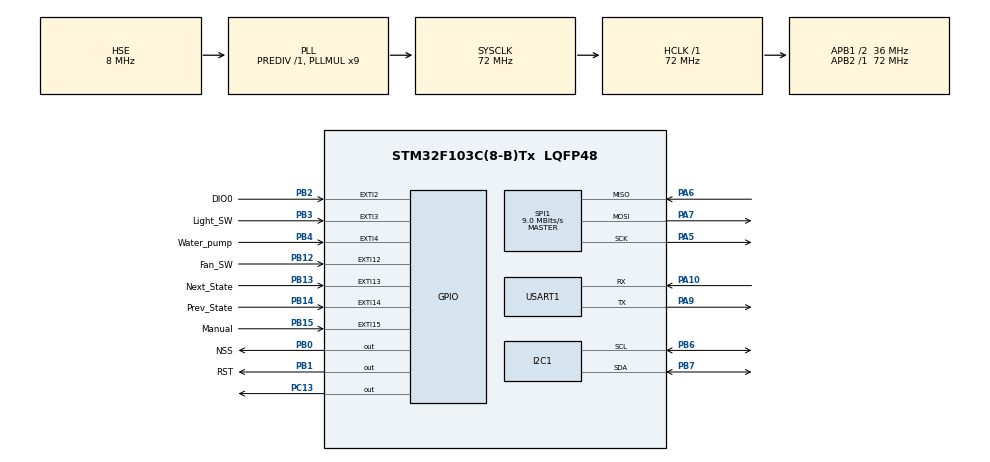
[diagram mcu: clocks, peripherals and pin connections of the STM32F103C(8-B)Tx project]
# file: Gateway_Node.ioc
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I2C1.I2C_Mode=I2C_Fast
Mcu.Family=STM32F1
Mcu.Name=STM32F103C(8-B)Tx
Mcu.Package=LQFP48
NVIC.EXTI15_10_IRQn=true\:0\:0\:false\:false\:true\:true\:true\:true
NVIC.EXTI2_IRQn=true\:0\:0\:false\:false\:true\:true\:true\:true
NVIC.EXTI3_IRQn=true\:0\:0\:false\:false\:true\:true\:true\:true
NVIC.EXTI4_IRQn=true\:0\:0\:false\:false\:true\:true\:true\:true
NVIC.PriorityGroup=NVIC_PRIORITYGROUP_4
NVIC.USART1_IRQn=true\:0\:0\:false\:false\:true\:true\:true\:true
PA10.Mode=Asynchronous
PA10.Signal=USART1_RX
PA13.Mode=Serial_Wire
PA13.Signal=SYS_JTMS-SWDIO
PA14.Mode=Serial_Wire
PA14.Signal=SYS_JTCK-SWCLK
PA5.Mode=Full_Duplex_Master
PA5.Signal=SPI1_SCK
PA6.Mode=Full_Duplex_Master
PA6.Signal=SPI1_MISO
PA7.Mode=Full_Duplex_Master
PA7.Signal=SPI1_MOSI
PA9.Mode=Asynchronous
PA9.Signal=USART1_TX
PB0.GPIO_Label=NSS
PB0.PinState=GPIO_PIN_SET
PB0.Signal=GPIO_Output
PB1.GPIO_Label=RST
PB1.PinState=GPIO_PIN_SET
PB1.Signal=GPIO_Output
PB12.GPIO_Label=Fan_SW
PB12.GPIO_ModeDefaultEXTI=GPIO_MODE_IT_FALLING
PB12.Signal=GPXTI12
PB13.GPIO_Label=Next_State
PB13.GPIO_ModeDefaultEXTI=GPIO_MODE_IT_FALLING
PB13.Signal=GPXTI13
PB14.GPIO_Label=Prev_State
PB14.GPIO_ModeDefaultEXTI=GPIO_MODE_IT_FALLING
PB14.Signal=GPXTI14
PB15.GPIO_Label=Manual
PB15.GPIO_ModeDefaultEXTI=GPIO_MODE_IT_FALLING
PB15.Signal=GPXTI15
PB2.GPIO_Label=DIO0
PB2.Signal=GPXTI2
PB3.GPIO_Label=Light_SW
PB3.GPIO_ModeDefaultEXTI=GPIO_MODE_IT_FALLING
PB3.Signal=GPXTI3
PB4.GPIO_Label=Water_pump
PB4.GPIO_ModeDefaultEXTI=GPIO_MODE_IT_FALLING
PB4.Signal=GPXTI4
PB6.Mode=I2C
PB6.Signal=I2C1_SCL
PB7.Mode=I2C
PB7.Signal=I2C1_SDA
PC13-TAMPER-RTC.Signal=GPIO_Output
PD0-OSC_IN.Mode=HSE-External-Oscillator
PD0-OSC_IN.Signal=RCC_OSC_IN
PD1-OSC_OUT.Mode=HSE-External-Oscillator
PD1-OSC_OUT.Signal=RCC_OSC_OUT
ProjectManager.HeapSize=0x200
ProjectManager.StackSize=0x400
ProjectManager.TargetToolchain=STM32CubeIDE
RCC.AHBFreq_Value=72000000
RCC.APB1CLKDivider=RCC_HCLK_DIV2
RCC.APB1Freq_Value=36000000
RCC.APB1TimFreq_Value=72000000
RCC.APB2Freq_Value=72000000
RCC.APB2TimFreq_Value=72000000
RCC.HCLKFreq_Value=72000000
RCC.PLLMUL=RCC_PLL_MUL9
RCC.PLLSourceVirtual=RCC_PLLSOURCE_HSE
RCC.SYSCLKFreq_VALUE=72000000
RCC.SYSCLKSource=RCC_SYSCLKSOURCE_PLLCLK
RCC.USBFreq_Value=72000000
SPI1.BaudRatePrescaler=SPI_BAUDRATEPRESCALER_8
SPI1.CalculateBaudRate=9.0 MBits/s
SPI1.Direction=SPI_DIRECTION_2LINES
SPI1.Mode=SPI_MODE_MASTER
SPI1.VirtualType=VM_MASTER
USART1.VirtualMode=VM_ASYNC
board=custom

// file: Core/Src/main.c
/* USER CODE BEGIN Header */
/**
  ******************************************************************************
  * @file           : main.c
  * @brief          : Main program body
  ******************************************************************************
  * @attention
  *
  * Copyright (c) 2025 STMicroelectronics.
  * All rights reserved.
  *
  * This software is licensed under terms that can be found in the LICENSE file
  * in the root directory of this software component.
  * If no LICENSE file comes with this software, it is provided AS-IS.
  *
  ******************************************************************************
  */
/* USER CODE END Header */
#include "main.h"

/* USER CODE BEGIN Includes */
#include "lcd-i2c.h"
#include "Lora.h"
#include <stdio.h>
#include "config.h"
/* USER CODE END Includes */

/* USER CODE BEGIN PD */
LoRa myLoRa;
uint16_t LoRa_Status;
uint8_t TxBuffer[4];
uint8_t Received_Data[9];
uint8_t RX_Data_Control[16];
uint8_t receivedACK[3];
volatile uint8_t Start = 1;
volatile uint8_t Data_Sensor_Interrupt = 0;
uint8_t ESP_rx_data;
volatile uint8_t manual_interrupt_flag = 0;
volatile uint8_t automate_interrupt_flag = 0;

//RELAYS STATE VARIABLES
volatile uint8_t water_relay = 0; // 0: OFF, 1: ON
volatile uint8_t light_relay = 0; // 0: OFF, 1: ON
volatile uint8_t fan_relay = 0; // 0: OFF, 1: ON
volatile uint8_t relay_state = 0;

volatile uint8_t Next_State_Flag = 0;
volatile uint8_t Prev_State_Flag = 0;

typedef struct {
    uint8_t Check_ID;
    uint16_t Humidity;
    uint16_t Temperature;
    uint16_t LUX;
    uint16_t Data_MQ135;
    uint16_t soil_Temp;
    uint16_t soil_Moisture;
} SensorData_t;
SensorData_t sensorData;

typedef enum {
    MODE_MANUAL,
    MODE_AUTOMATE
} ControlMode_t;
ControlMode_t control_mode = MODE_MANUAL;

typedef enum {
    SCREEN_SENSOR = 0,
    SCREEN_RELAY,
    SCREEN_MODE,
    SCREEN_TOTAL
} DisplayScreen_t;
DisplayScreen_t current_display_screen = SCREEN_SENSOR;

uint8_t buffer[14];
/* USER CODE END PD */

I2C_HandleTypeDef hi2c1;

SPI_HandleTypeDef hspi1;

UART_HandleTypeDef huart1;

void SystemClock_Config(void);
static void MX_GPIO_Init(void);
static void MX_I2C1_Init(void);
static void MX_SPI1_Init(void);
static void MX_USART1_UART_Init(void);
/* USER CODE BEGIN PFP */
void LCD_Display(SensorData_t *sensorData);
void Received_Data_Handler(void);
void Sendto_ESP_UART(SensorData_t *data);
void change_relay_state(void);
void change_relay_state_update_manual(void);

/* USER CODE END PFP */

int main(void)
{

  /* MCU Configuration--------------------------------------------------------*/

  /* Reset of all peripherals, Initializes the Flash interface and the Systick. */
  HAL_Init();

  /* Configure the system clock */
  SystemClock_Config();

  /* Initialize all configured peripherals */
  MX_GPIO_Init();
  MX_I2C1_Init();
  MX_SPI1_Init();
  MX_USART1_UART_Init();
  /* USER CODE BEGIN 2 */
  lcd_init();
  water_relay = 0; // 0: OFF, 1: ON
  light_relay = 0; // 0: OFF, 1: ON
  fan_relay = 0; // 0: OFF, 1: ON
  relay_state = 0;

//LORA STATUS CONFIG
  myLoRa = newLoRa();

  myLoRa.CS_port         = NSS_GPIO_Port;
  myLoRa.CS_pin          = NSS_Pin;
  myLoRa.reset_port      = RST_GPIO_Port;
  myLoRa.reset_pin       = RST_Pin;
  myLoRa.DIO0_port       = DIO0_GPIO_Port;
  myLoRa.DIO0_pin        = DIO0_Pin;
  myLoRa.hSPIx           = &hspi1;

  myLoRa.frequency             = 440;             // default = 433 MHz
  myLoRa.spredingFactor        = SF_7;            // default = SF_7
  myLoRa.bandWidth             = BW_31_25KHz;       // default = BW_125KHz
  myLoRa.crcRate               = CR_4_5;          // default = CR_4_5
  myLoRa.power                 = POWER_20db;      // default = 20db
  myLoRa.overCurrentProtection = 130;             // default = 100 mA
  myLoRa.preamble              = 9;              // default = 8;

  if (LoRa_init(&myLoRa) == LORA_OK){
	  LoRa_Status = 1;
  }

  lcd_put_cur(1, 0);
  lcd_send_string ("INITIATE NETWORK...");

//CONTINUOUSLY BOARDCAST 0xFF SIGNAL IN 15S TO START INITIATE THE NETWORK
  uint32_t timeout_ms = HAL_GetTick() + 15000;
  while (HAL_GetTick() < timeout_ms)
  {
	  TxBuffer[0] = 0xFF; // Tín hiệu đồng bộ mạng
	  TxBuffer[1] = 0xFF;
	  TxBuffer[2] = 0xFF;
	  TxBuffer[3] = 0xFF;
	  LoRa_transmit(&myLoRa, TxBuffer, 4, 500);
  }
  HAL_GPIO_WritePin(GPIOC, GPIO_PIN_13, SET); //DEBUG LED

//BOARDCAST PRE-START SIGNAL 0xC0
  TxBuffer[0] = 0xC0; //0xEE
  TxBuffer[1] = 0xEE;
  TxBuffer[2] = 0xEE;
  TxBuffer[3] = 0xEE;
  LoRa_transmit(&myLoRa, TxBuffer, 4, 500);

//WAIT UNTIL RECEIVED ALL ACK FROM SENSOR NODES
  LoRa_startReceiving(&myLoRa);
//  HAL_Delay(500); //Do we really need this?? gonna commented it to test!
  while ((receivedACK[0] != 0x01) || (receivedACK[1] != 0x02) || (receivedACK[2] != 0x03))
  {
	  //wait for ACK
  }

//LCD INDICATE THAT HAVE RECEIVED ALL ACK
  lcd_clear();
  lcd_put_cur(1, 2);
  lcd_send_string ("ALL SENSOR NODES");
  lcd_put_cur(2, 3);
  lcd_send_string ("ARE DETECTED!");
  HAL_Delay(3000);
  lcd_clear();
  lcd_put_cur(1, 2);
  lcd_send_string ("WELCOME USER TO");
  lcd_put_cur(2, 3);
  lcd_send_string (" AGRITOMATO! ");
  HAL_Delay(3000);
  lcd_clear();

//SENDING START SIGNAL 0xB0 TO ENTIRE NETWORK TO SYNCHRONIZE RTC WAKE UP OF DATA SENDIING TIMESLOT
  if ((receivedACK[0] == 0x01) && (receivedACK[1] == 0x02) && (receivedACK[2] == 0x03))
  {
	  TxBuffer[0] = 0xB0; //0xDD
	  TxBuffer[1] = 0xDD;
      TxBuffer[2] = 0xDD;
      TxBuffer[3] = 0xDD;
      LoRa_transmit(&myLoRa, TxBuffer, 4, 500);
      Start = 0;
  }
  else
  	  {

  	  }

// FINISHED SYNCHRONIZE THE NETWORK --> STEP INTO RECEIVE DATA MODE
  LoRa_startReceiving(&myLoRa);
  HAL_UART_Receive_IT(&huart1, &ESP_rx_data, 1);
  /* USER CODE END 2 */

  /* Infinite loop */
  while (1)
  {

    /* USER CODE BEGIN 3 */
#if new_feature_dev == 1

	  if (Data_Sensor_Interrupt == 1)
	  {
		  Received_Data_Handler();
		  HAL_UART_Transmit_IT(&huart1, buffer, sizeof(buffer));
//		  Sendto_ESP_UART(&sensorData);
		  LoRa_startReceiving(&myLoRa);
		  Data_Sensor_Interrupt = 0;
	  }
	  LCD_Display(&sensorData);
	  switch (control_mode)
	  {
	      case MODE_MANUAL:
	    	  if (manual_interrupt_flag == 1)
			  {
	    		  change_relay_state();
	    		  manual_interrupt_flag = 0;
			  }
	          break;

	      case MODE_AUTOMATE:
	    	  if ((RX_Data_Control[2] == 0x31) && (RX_Data_Control[3] == 0x32))
	    	  {
	    		  LoRa_transmit(&myLoRa, RX_Data_Control, sizeof(RX_Data_Control), 500);
	    		  RX_Data_Control[2] = 0;
	    		  RX_Data_Control[3] = 0;
	    		  LoRa_startReceiving(&myLoRa);
	    	  }

	    	  break;
	   }
#endif

  }

  /* USER CODE END 3 */
}

void SystemClock_Config(void)
{
  RCC_OscInitTypeDef RCC_OscInitStruct = {0};
  RCC_ClkInitTypeDef RCC_ClkInitStruct = {0};

  /** Initializes the RCC Oscillators according to the specified parameters
  * in the RCC_OscInitTypeDef structure.
  */
  RCC_OscInitStruct.OscillatorType = RCC_OSCILLATORTYPE_HSE;
  RCC_OscInitStruct.HSEState = RCC_HSE_ON;
  RCC_OscInitStruct.HSEPredivValue = RCC_HSE_PREDIV_DIV1;
  RCC_OscInitStruct.HSIState = RCC_HSI_ON;
  RCC_OscInitStruct.PLL.PLLState = RCC_PLL_ON;
  RCC_OscInitStruct.PLL.PLLSource = RCC_PLLSOURCE_HSE;
  RCC_OscInitStruct.PLL.PLLMUL = RCC_PLL_MUL9;
  if (HAL_RCC_OscConfig(&RCC_OscInitStruct) != HAL_OK)
  {
    Error_Handler();
  }

  /** Initializes the CPU, AHB and APB buses clocks
  */
  RCC_ClkInitStruct.ClockType = RCC_CLOCKTYPE_HCLK|RCC_CLOCKTYPE_SYSCLK
                              |RCC_CLOCKTYPE_PCLK1|RCC_CLOCKTYPE_PCLK2;
  RCC_ClkInitStruct.SYSCLKSource = RCC_SYSCLKSOURCE_PLLCLK;
  RCC_ClkInitStruct.AHBCLKDivider = RCC_SYSCLK_DIV1;
  RCC_ClkInitStruct.APB1CLKDivider = RCC_HCLK_DIV2;
  RCC_ClkInitStruct.APB2CLKDivider = RCC_HCLK_DIV1;

  if (HAL_RCC_ClockConfig(&RCC_ClkInitStruct, FLASH_LATENCY_2) != HAL_OK)
  {
    Error_Handler();
  }
}

static void MX_I2C1_Init(void)
{

  hi2c1.Instance = I2C1;
  hi2c1.Init.ClockSpeed = 400000;
  hi2c1.Init.DutyCycle = I2C_DUTYCYCLE_2;
  hi2c1.Init.OwnAddress1 = 0;
  hi2c1.Init.AddressingMode = I2C_ADDRESSINGMODE_7BIT;
  hi2c1.Init.DualAddressMode = I2C_DUALADDRESS_DISABLE;
  hi2c1.Init.OwnAddress2 = 0;
  hi2c1.Init.GeneralCallMode = I2C_GENERALCALL_DISABLE;
  hi2c1.Init.NoStretchMode = I2C_NOSTRETCH_DISABLE;
  if (HAL_I2C_Init(&hi2c1) != HAL_OK)
  {
    Error_Handler();
  }

}

static void MX_SPI1_Init(void)
{

  /* SPI1 parameter configuration*/
  hspi1.Instance = SPI1;
  hspi1.Init.Mode = SPI_MODE_MASTER;
  hspi1.Init.Direction = SPI_DIRECTION_2LINES;
  hspi1.Init.DataSize = SPI_DATASIZE_8BIT;
  hspi1.Init.CLKPolarity = SPI_POLARITY_LOW;
  hspi1.Init.CLKPhase = SPI_PHASE_1EDGE;
  hspi1.Init.NSS = SPI_NSS_SOFT;
  hspi1.Init.BaudRatePrescaler = SPI_BAUDRATEPRESCALER_8;
  hspi1.Init.FirstBit = SPI_FIRSTBIT_MSB;
  hspi1.Init.TIMode = SPI_TIMODE_DISABLE;
  hspi1.Init.CRCCalculation = SPI_CRCCALCULATION_DISABLE;
  hspi1.Init.CRCPolynomial = 10;
  if (HAL_SPI_Init(&hspi1) != HAL_OK)
  {
    Error_Handler();
  }

}

static void MX_USART1_UART_Init(void)
{

  huart1.Instance = USART1;
  huart1.Init.BaudRate = 115200;
  huart1.Init.WordLength = UART_WORDLENGTH_8B;
  huart1.Init.StopBits = UART_STOPBITS_1;
  huart1.Init.Parity = UART_PARITY_NONE;
  huart1.Init.Mode = UART_MODE_TX_RX;
  huart1.Init.HwFlowCtl = UART_HWCONTROL_NONE;
  huart1.Init.OverSampling = UART_OVERSAMPLING_16;
  if (HAL_UART_Init(&huart1) != HAL_OK)
  {
    Error_Handler();
  }

}

static void MX_GPIO_Init(void)
{
  GPIO_InitTypeDef GPIO_InitStruct = {0};

  /* GPIO Ports Clock Enable */
  __HAL_RCC_GPIOC_CLK_ENABLE();
  __HAL_RCC_GPIOD_CLK_ENABLE();
  __HAL_RCC_GPIOA_CLK_ENABLE();
  __HAL_RCC_GPIOB_CLK_ENABLE();

  /*Configure GPIO pin Output Level */
  HAL_GPIO_WritePin(GPIOC, GPIO_PIN_13, GPIO_PIN_RESET);

  /*Configure GPIO pin Output Level */
  HAL_GPIO_WritePin(GPIOB, NSS_Pin|RST_Pin, GPIO_PIN_SET);

  /*Configure GPIO pin : PC13 */
  GPIO_InitStruct.Pin = GPIO_PIN_13;
  GPIO_InitStruct.Mode = GPIO_MODE_OUTPUT_PP;
  GPIO_InitStruct.Pull = GPIO_NOPULL;
  GPIO_InitStruct.Speed = GPIO_SPEED_FREQ_LOW;
  HAL_GPIO_Init(GPIOC, &GPIO_InitStruct);

  /*Configure GPIO pins : NSS_Pin RST_Pin */
  GPIO_InitStruct.Pin = NSS_Pin|RST_Pin;
  GPIO_InitStruct.Mode = GPIO_MODE_OUTPUT_PP;
  GPIO_InitStruct.Pull = GPIO_NOPULL;
  GPIO_InitStruct.Speed = GPIO_SPEED_FREQ_LOW;
  HAL_GPIO_Init(GPIOB, &GPIO_InitStruct);

  /*Configure GPIO pin : DIO0_Pin */
  GPIO_InitStruct.Pin = DIO0_Pin;
  GPIO_InitStruct.Mode = GPIO_MODE_IT_RISING;
  GPIO_InitStruct.Pull = GPIO_NOPULL;
  HAL_GPIO_Init(DIO0_GPIO_Port, &GPIO_InitStruct);

  /*Configure GPIO pins : Fan_SW_Pin Next_State_Pin Prev_State_Pin Manual_Pin
                           Light_SW_Pin Water_pump_Pin */
  GPIO_InitStruct.Pin = Fan_SW_Pin|Next_State_Pin|Prev_State_Pin|Manual_Pin
                          |Light_SW_Pin|Water_pump_Pin;
  GPIO_InitStruct.Mode = GPIO_MODE_IT_FALLING;
  GPIO_InitStruct.Pull = GPIO_NOPULL;
  HAL_GPIO_Init(GPIOB, &GPIO_InitStruct);

  /* EXTI interrupt init*/
  HAL_NVIC_SetPriority(EXTI2_IRQn, 0, 0);
  HAL_NVIC_EnableIRQ(EXTI2_IRQn);

  HAL_NVIC_SetPriority(EXTI3_IRQn, 0, 0);
  HAL_NVIC_EnableIRQ(EXTI3_IRQn);

  HAL_NVIC_SetPriority(EXTI4_IRQn, 0, 0);
  HAL_NVIC_EnableIRQ(EXTI4_IRQn);

  HAL_NVIC_SetPriority(EXTI15_10_IRQn, 0, 0);
  HAL_NVIC_EnableIRQ(EXTI15_10_IRQn);

}

/* USER CODE BEGIN 4 */

//LCD DISPLAY FUNCTION
void LCD_Display(SensorData_t *sensorData)
{
    if (Next_State_Flag)
    {
        current_display_screen = (current_display_screen + 1) % SCREEN_TOTAL;
        Next_State_Flag = 0;
        lcd_clear();
    }
    if (Prev_State_Flag)
    {
        current_display_screen = (current_display_screen + SCREEN_TOTAL - 1) % SCREEN_TOTAL;
        Prev_State_Flag = 0;
        lcd_clear();
    }
    char buffer[20];
    switch (current_display_screen)
        {
            case SCREEN_SENSOR:
                lcd_put_cur(0, 0);
                sprintf(buffer, "ID:0x%X", sensorData->Check_ID);
                lcd_send_string(buffer);

                // SOILD MOISTURE DISPLAY
                lcd_put_cur(2, 9);
                sprintf(buffer, "Mois:%d.%d%%", sensorData->soil_Moisture / 10, sensorData->soil_Moisture % 10);
                lcd_send_string(buffer);

                // TEMPERATURE DISPLAY
                lcd_put_cur(1, 0);
                sprintf(buffer, "Temp:%d.%dC", sensorData->Temperature / 10, sensorData->Temperature % 10);
                lcd_send_string(buffer);

                // LUX DISPLAY
                lcd_put_cur(2, 0);
                lcd_send_string("         ");
                lcd_put_cur(2, 0);
                sprintf(buffer, "Lux:%d.%d", sensorData->LUX / 10, sensorData->LUX % 10);
                lcd_send_string(buffer);

                // AIR MOISTURE DISPLAY
                lcd_put_cur(1, 11);
                sprintf(buffer, "Hum:%d.%d%%", sensorData->Humidity / 10, sensorData->Humidity % 10);
                lcd_send_string(buffer);

                // MQ135 DATA DISPLAY
                lcd_put_cur(3, 0);
                lcd_send_string("         ");
                lcd_put_cur(3, 0);
                sprintf(buffer, "MQ:%d", sensorData->Data_MQ135);
                lcd_send_string(buffer);

                // SOILD TEMPERATURE DISPLAY
                lcd_put_cur(3, 8);
                sprintf(buffer, "Soil:%d.%dC", sensorData->soil_Temp / 10, sensorData->soil_Temp % 10);
                lcd_send_string(buffer);

                break;
            case SCREEN_RELAY:
                lcd_put_cur(0, 3);
                lcd_send_string("RELAY STATUS");

                lcd_put_cur(1, 0);
                sprintf(buffer, "WATER: %s", water_relay ? "ON " : "OFF");
                lcd_send_string(buffer);

                lcd_put_cur(2, 0);
                sprintf(buffer, "FAN  : %s", fan_relay ? "ON " : "OFF");
                lcd_send_string(buffer);

                lcd_put_cur(3, 0);
                sprintf(buffer, "LIGHT: %s", light_relay ? "ON " : "OFF");
                lcd_send_string(buffer);
                break;

            case SCREEN_MODE:
                if (control_mode == MODE_MANUAL)
                {
                    lcd_put_cur(1, 3);
                    lcd_send_string("CURRENT MODE:");
                    lcd_put_cur(2, 3);
                    lcd_send_string("MANUAL MODE  ");
                }
                else if (control_mode == MODE_AUTOMATE)
                {
                    lcd_put_cur(1, 3);
                    lcd_send_string("CURRENT MODE:");
                    lcd_put_cur(2, 3);
                    lcd_send_string("AUTOMATE MODE");
                }
                else
                {
                    lcd_send_string("UNKNOWN");
                }
                break;

             default:

                break;
        }
}

void Received_Data_Handler(void)
{
	if(Received_Data[0] == 0xA1)
	{
		sensorData.Check_ID    = Received_Data[0];
		sensorData.Humidity    = Received_Data[2] | (Received_Data[1] << 8);
		sensorData.Temperature = Received_Data[4] | (Received_Data[3] << 8);
		sensorData.LUX         = Received_Data[6] | (Received_Data[5] << 8);
		sensorData.Data_MQ135  = Received_Data[8] | (Received_Data[7] << 8);
#if new_feature_dev == 1
		RX_Data_Control[0] = 0xA3;
		RX_Data_Control[1] = 0xBB;
		RX_Data_Control[2] = 0x31;

		buffer[0] = 0xA1;
		buffer[1] = Received_Data[1];
		buffer[2] = Received_Data[2];
		buffer[3] = Received_Data[3];
		buffer[4] = Received_Data[4];
		buffer[5] = Received_Data[5];
		buffer[6] = Received_Data[6];
		buffer[7] = Received_Data[7];
		buffer[8] = Received_Data[8];

		for (int i = 4; i < 12 ; i++) {
		    RX_Data_Control[i] = Received_Data[i-3];  // Sao chép dữ liệu cũ từ vị trí 1 trở đi
		}
		change_relay_state_update_manual();
#endif
	}

	else if(Received_Data[0] == 0xA2)
	{
		sensorData.Check_ID    = Received_Data[0];
	    sensorData.soil_Temp = Received_Data[2] | (Received_Data[1] << 8);
	    sensorData.soil_Moisture = Received_Data[4] | (Received_Data[3] << 8);
#if new_feature_dev == 1
		RX_Data_Control[3] = 0x32;

		buffer[0] = 0xA1;
		buffer[9] = Received_Data[1];
		buffer[10] = Received_Data[2];
		buffer[11] = Received_Data[3];
		buffer[12] = Received_Data[4];
		buffer[13] = (water_relay << 2) | (fan_relay << 1) | light_relay;

		for (int i = 12; i < 16 ; i++) {
		    RX_Data_Control[i] = Received_Data[i - 11];  // Sao chép dữ liệu cũ từ vị trí 1 trở đi
		}
		change_relay_state_update_manual();
#endif
	}

#if new_feature_dev == 1
    else if (Received_Data[0] == 0xA3)
    {
//    	automate_interrupt_flag = 1;
    	uint8_t relay_status = Received_Data[1];

    	light_relay  = (relay_status >> 0) & 0x01; // Lấy bit 0
    	fan_relay = (relay_status >> 1) & 0x01; // Lấy bit 1
    	water_relay = (relay_status >> 2) & 0x01; // Lấy bit 2
    }
#endif
}

// SENDING DATA TO ESP: 1 BYTE ID + 6*2 DATA BYTES + 1 BYTE RELAYS STATE = 14 BYTES. WE CAN ADD MORE 1 OR 2 HEADER BYTE IF NEEDED.
//void Sendto_ESP_UART(SensorData_t *data)
//{
//    uint8_t buffer[14];
//
//    buffer[0]  = data->Check_ID;
//
//    buffer[1]  = (uint8_t)(data->Humidity >> 8);
//    buffer[2]  = (uint8_t)(data->Humidity & 0xFF);
//
//    buffer[3]  = (uint8_t)(data->Temperature >> 8);
//    buffer[4]  = (uint8_t)(data->Temperature & 0xFF);
//
//    buffer[5]  = (uint8_t)(data->LUX >> 8);
//    buffer[6]  = (uint8_t)(data->LUX & 0xFF);
//
//    buffer[7]  = (uint8_t)(data->Data_MQ135 >> 8);
//    buffer[8]  = (uint8_t)(data->Data_MQ135 & 0xFF);
//
//    buffer[9]  = (uint8_t)(data->soil_Temp >> 8);
//    buffer[10] = (uint8_t)(data->soil_Temp & 0xFF);
//
//    buffer[11] = (uint8_t)(data->soil_Moisture >> 8);
//    buffer[12] = (uint8_t)(data->soil_Moisture & 0xFF);
//
//	// Gộp trạng thái lại thành 1 byte:
//	// Ví dụ: PA11 -> bit 2, PA10 -> bit 1, PA9 -> bit 0
//	buffer[13] = (water_relay << 2) | (fan_relay << 1) | light_relay;
//    HAL_UART_Transmit_IT(&huart1, buffer, sizeof(buffer));
//}

//THIS WAKE UP TRIGGERED BY GPIO DIO0, HAPPENS WHEN A DATA RECEIVED BY SX1278 MODULE
void HAL_GPIO_EXTI_Callback(uint16_t GPIO_Pin)
{
    if (GPIO_Pin == DIO0_Pin)
    {
    	if (Start == 1) // Start over the network
    	{
    		LoRa_receive(&myLoRa, Received_Data, 9);
    		if (Received_Data[0] == 0x01)
    		{
    			receivedACK[0] = 0x01;
    		}

    		else if (Received_Data[0] == 0x02)
    		{
    			receivedACK[1] = 0x02;
    		}

    		else if (Received_Data[0] == 0x03)
    		{
    			receivedACK[2] = 0x03;
    		}
    	}
    	else
    	{
    		LoRa_receive(&myLoRa, Received_Data, 9);
    		Data_Sensor_Interrupt = 1;
    	}
    }

    else if (GPIO_Pin == Light_SW_Pin)
    {
    	control_mode = MODE_MANUAL;
//    	TxBuffer[0] = 0xAA; // Indicate to control node that the system is in manual mode
//    	LoRa_transmit(&myLoRa, TxBuffer, sizeof(TxBuffer), 500);
    	manual_interrupt_flag = 1;
    	__HAL_GPIO_EXTI_CLEAR_IT(Light_SW_Pin);  // Clear the interrupt flag
    	if (light_relay == 0)
    	{
    		//send packet to turn on light
    		light_relay = 1;
    		//remember to change the sx1278 mode to receive mode again
    	}
    	else
    	{
    		//send packet to turn off light
    		light_relay = 0;
    		//remember to change the sx1278 mode to receive mode again
    	}
    }

    else if (GPIO_Pin == Water_pump_Pin)
    {
    	control_mode = MODE_MANUAL;
//    	TxBuffer[0] = 0xBB; // Indicate to control node that the system is in manual mode
//    	LoRa_transmit(&myLoRa, TxBuffer, sizeof(TxBuffer), 500);
    	manual_interrupt_flag = 1;
    	__HAL_GPIO_EXTI_CLEAR_IT(Water_pump_Pin);  // Clear the interrupt flag
    	if (water_relay == 0)
    	{
    		//send packet to turn on pump
    		water_relay = 1;
    		//remember to change the sx1278 mode to receive mode again
    	}
    	else
    	{
    		//send packet to turn off pump
    		water_relay = 0;
    		//remember to change the sx1278 mode to receive mode again
    	}
    }

    else if (GPIO_Pin == Fan_SW_Pin)
    {
    	control_mode = MODE_MANUAL;
//    	TxBuffer[0] = 0xAA; // Indicate to control node that the system is in manual mode
//    	LoRa_transmit(&myLoRa, TxBuffer, sizeof(TxBuffer), 500);
    	manual_interrupt_flag = 1;
    	__HAL_GPIO_EXTI_CLEAR_IT(Fan_SW_Pin);  // Clear the interrupt flag
    	if (fan_relay == 0)
    	{
    		//send packet to turn on fan
    		fan_relay = 1;
    		//remember to change the sx1278 mode to receive mode again
    	}
    	else
    	{
    		//send packet to turn off fan
    		fan_relay = 0;
    		//remember to change the sx1278 mode to receive mode again
    	}
    }

    else if (GPIO_Pin == Manual_Pin)
    {
        if (control_mode == MODE_AUTOMATE)
        {
            control_mode = MODE_MANUAL;
//        	TxBuffer[0] = 0xAA; // Indicate to control node that the system is in manual mode
//        	LoRa_transmit(&myLoRa, TxBuffer, sizeof(TxBuffer), 500);
        }
        else
        {
            control_mode = MODE_AUTOMATE;
//        	TxBuffer[0] = 0xBB; // Indicate to control node that the system is in automate mode
//        	LoRa_transmit(&myLoRa, TxBuffer, sizeof(TxBuffer), 500);
        }

//        manual_interrupt_flag = 1;  // �?ặt c�? nếu bạn xử lý sau ở main
    }

    else if (GPIO_Pin == Prev_State_Pin)
    {
    	Prev_State_Flag = 1;
    }

    else if (GPIO_Pin == Next_State_Pin)
    {
    	Next_State_Flag = 1;
    }
}

//INTERRUPT WHEN HAVE A REQUEST FROM ESP32
void HAL_UART_RxCpltCallback(UART_HandleTypeDef *huart)
{
    if (huart->Instance == USART1)
    {
        // Xử lý dữ liệu nhận được trong rx_data (bật bơm, đèn, quạt)

    	HAL_UART_Receive_IT(&huart1, &ESP_rx_data, 1); //Cấu hình nhận data từ UART cho lần ngắt sau
		manual_interrupt_flag = 1;
		control_mode = MODE_MANUAL;
		light_relay  = (ESP_rx_data >> 0) & 0x01; // Lấy bit 0
		fan_relay = (ESP_rx_data >> 1) & 0x01; // Lấy bit 1
		water_relay = (ESP_rx_data >> 2) & 0x01; // Lấy bit 2
    }
}

void change_relay_state(void)
{
    // Prepare the packet for transmission
    relay_state = (water_relay) | (light_relay << 1) | (fan_relay << 2);
    TxBuffer[0] = 0xA3;       // Control node ID
    TxBuffer[1] = 0xAA;
    TxBuffer[2] = relay_state; // Relay state byte

    // Transmit the packet
    LoRa_transmit(&myLoRa, TxBuffer, 3, 500);

    // Switch back to receive mode
    LoRa_startReceiving(&myLoRa);
}

void change_relay_state_update_manual(void)
{
    // Prepare the packet for transmission
    relay_state = (water_relay) | (light_relay << 1) | (fan_relay << 2);
    TxBuffer[0] = 0xA3;       // Control node ID
    TxBuffer[1] = 0xCC;
    TxBuffer[2] = relay_state; // Relay state byte

    // Transmit the packet
    LoRa_transmit(&myLoRa, TxBuffer, 3, 500);

    // Switch back to receive mode
    LoRa_startReceiving(&myLoRa);
}
/* USER CODE END 4 */

void Error_Handler(void)
{
  __disable_irq();
  while (1)
  {
  }
}
